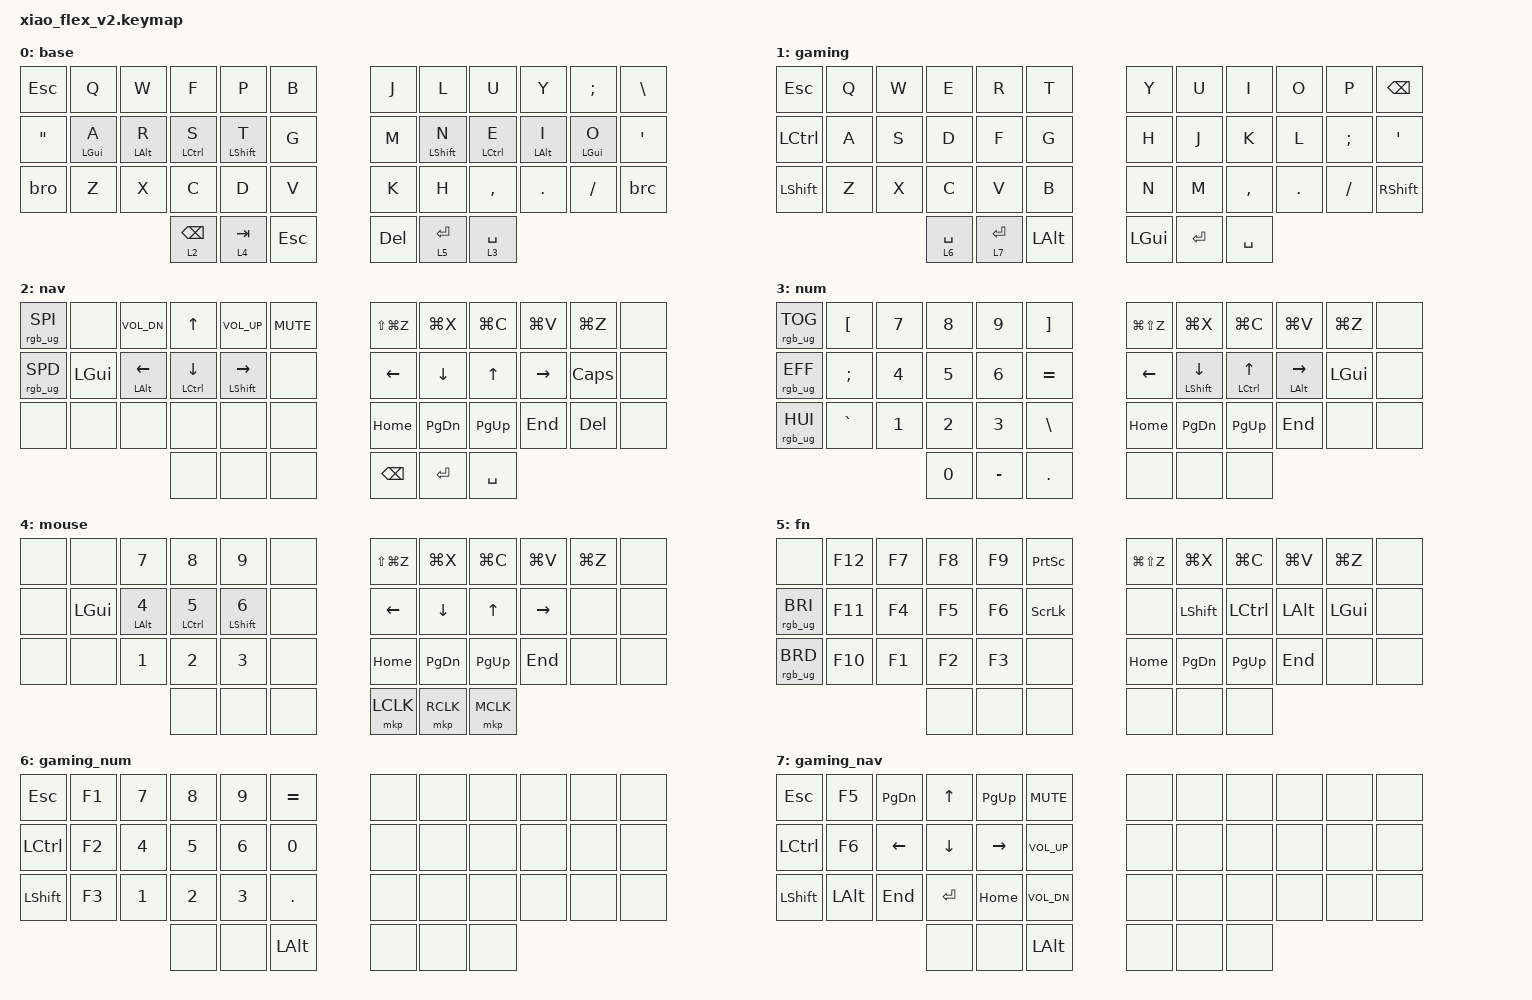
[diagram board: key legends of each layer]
/*
 * Copyright (c) 2020 The ZMK Contributors
 *
 * SPDX-License-Identifier: MIT
 */

#include <dt-bindings/led/led.h>
#include <behaviors/mouse_keys.dtsi>
#include <behaviors.dtsi>
#include <dt-bindings/zmk/keys.h>
#include <dt-bindings/zmk/mouse.h>
#include <dt-bindings/zmk/rgb.h>

&lt {
    quick-tap-ms = <225>;
    flavor = "balanced";
    tapping-term-ms = <280>;
    require-prior-idle-ms = <150>;
};

&mt {
    tapping-term-ms = <280>;
    quick-tap-ms = <225>;
    flavor = "balanced";
    require-prior-idle-ms = <150>;
};

/ {
    behaviors {
        bro: bro {
            compatible = "zmk,behavior-tap-dance";
            label = "BRO";
            #binding-cells = <0>;
            bindings =
                <&kp LEFT_PARENTHESIS>,
                <&kp LEFT_BRACE>,
                <&kp LEFT_BRACKET>;

            tapping-term-ms = <300>;
        };

        brc: brc {
            compatible = "zmk,behavior-tap-dance";
            label = "BRC";
            #binding-cells = <0>;
            bindings =
                <&kp RIGHT_PARENTHESIS>,
                <&kp RIGHT_BRACE>,
                <&kp RIGHT_BRACKET>;

            tapping-term-ms = <300>;
        };

        hml: hml {
            compatible = "zmk,behavior-hold-tap";
            label = "HML";
            bindings = <&kp>, <&kp>;

            #binding-cells = <2>;
            tapping-term-ms = <280>;
            quick-tap-ms = <225>;
            require-prior-idle-ms = <150>;
            flavor = "balanced";
            hold-trigger-key-positions = <6 18 19 20 21 22 23 30 31 32 33 34 35 7 8 9 10 11 39 40 41 36 37 38 36 37 38 39 40 41 42 43 44 45>;
            hold-trigger-on-release;
        };

        hmr: hmr {
            compatible = "zmk,behavior-hold-tap";
            label = "HMR";
            bindings = <&kp>, <&kp>;

            #binding-cells = <2>;
            tapping-term-ms = <280>;
            quick-tap-ms = <225>;
            require-prior-idle-ms = <150>;
            flavor = "balanced";
            hold-trigger-key-positions = <0 1 2 3 4 5 12 13 14 15 16 17 24 25 26 27 28 29 36 37 38 42 43 39 40 41 44 45>;
            hold-trigger-on-release;
        };

        hmls: hmls {
            compatible = "zmk,behavior-hold-tap";
            label = "HMLS";
            bindings = <&kp>, <&kp>;

            #binding-cells = <2>;
            tapping-term-ms = <280>;
            quick-tap-ms = <225>;
            require-prior-idle-ms = <150>;
            flavor = "balanced";
            hold-trigger-key-positions = <6 18 19 20 21 22 23 30 31 32 33 34 35 7 8 9 10 11 39 40 41 36 37 38 36 37 38 39 40 41 42 43 44 45>;
            hold-trigger-on-release;
        };

        hmrs: hmrs {
            compatible = "zmk,behavior-hold-tap";
            label = "HMRS";
            bindings = <&kp>, <&kp>;

            #binding-cells = <2>;
            tapping-term-ms = <280>;
            quick-tap-ms = <225>;
            require-prior-idle-ms = <150>;
            flavor = "balanced";
            hold-trigger-key-positions = <0 1 2 3 4 5 12 13 14 15 16 17 24 25 26 27 28 29 36 37 38 42 43 39 40 41 44 45>;
            hold-trigger-on-release;
        };
    };

    combos {
        compatible = "zmk,combos";

        paro {
            bindings = <&kp LEFT_PARENTHESIS>;
            key-positions = <3 4>;
        };

        veco {
            bindings = <&kp LEFT_BRACKET>;
            key-positions = <2 4>;
        };

        mapo {
            bindings = <&kp LEFT_BRACE>;
            key-positions = <1 4>;
        };

        underscore {
            bindings = <&kp UNDERSCORE>;
            key-positions = <4 7>;
        };

        parc {
            bindings = <&kp RIGHT_PARENTHESIS>;
            key-positions = <7 8>;
        };

        vecc {
            bindings = <&kp RIGHT_BRACKET>;
            key-positions = <7 9>;
        };

        mapc {
            bindings = <&kp RIGHT_BRACE>;
            key-positions = <7 10>;
        };

        minus {
            bindings = <&kp MINUS>;
            key-positions = <16 19>;
        };

        esc {
            bindings = <&kp ESC>;
            key-positions = <36 41>;
        };

        capsword {
            bindings = <&caps_word>;
            key-positions = <37 40>;
        };

        toggle_gaming {
            bindings = <&tog 1>;
            key-positions = <38 39>;
        };
    };

    keymap {
        compatible = "zmk,keymap";

        base {
            bindings = <
&kp ESC  &kp Q        &kp W        &kp F         &kp P           &kp B      &kp J    &kp L           &kp U         &kp Y        &kp SEMI     &kp BSLH
&kp DQT  &hml LGUI A  &hml LALT R  &hml LCTRL S  &hmls LSHIFT T  &kp G      &kp M    &hmrs LSHIFT N  &hmr LCTRL E  &hmr LALT I  &hmr LGUI O  &kp SQT
&bro     &kp Z        &kp X        &kp C         &kp D           &kp V      &kp K    &kp H           &kp COMMA     &kp DOT      &kp FSLH     &brc
                                   &lt 2 BSPC    &lt 4 TAB       &kp ESC    &kp DEL  &lt 5 RET       &lt 3 SPACE
            >;
        };

        gaming {
            bindings = <
&kp ESC    &kp Q  &kp W  &kp E        &kp R      &kp T           &kp Y     &kp U      &kp I      &kp O    &kp P     &kp BSPC
&kp LCTRL  &kp A  &kp S  &kp D        &kp F      &kp G           &kp H     &kp J      &kp K      &kp L    &kp SEMI  &kp SQT
&kp LSHFT  &kp Z  &kp X  &kp C        &kp V      &kp B           &kp N     &kp M      &kp COMMA  &kp DOT  &kp FSLH  &kp RSHIFT
                         &lt 6 SPACE  &lt 7 RET  &kp LEFT_ALT    &kp LGUI  &kp ENTER  &kp SPACE
            >;
        };

        nav {
            bindings = <
&rgb_ug RGB_SPI  &none     &kp C_VOL_DN   &kp UP          &kp C_VOL_UP     &kp C_MUTE    &kp LS(LG(Z))  &kp LG(X)  &kp LG(C)  &kp LG(V)  &kp LG(Z)  &none
&rgb_ug RGB_SPD  &kp LGUI  &mt LALT LEFT  &mt LCTRL DOWN  &mt LSHFT RIGHT  &none         &kp LEFT       &kp DOWN   &kp UP     &kp RIGHT  &kp CAPS   &none
&none            &none     &none          &none           &none            &none         &kp HOME       &kp PG_DN  &kp PG_UP  &kp END    &kp DEL    &none
                                          &none           &none            &none         &kp BSPC       &kp RET    &kp SPACE
            >;
        };

        num {
            bindings = <
&rgb_ug RGB_TOG  &kp LBKT       &kp N7  &kp N8  &kp N9     &kp RBKT      &kp LG(LS(Z))  &kp LG(X)       &kp LG(C)     &kp LG(V)       &kp LG(Z)  &none
&rgb_ug RGB_EFF  &kp SEMICOLON  &kp N4  &kp N5  &kp N6     &kp EQUAL     &kp LEFT       &mt LSHFT DOWN  &mt LCTRL UP  &mt LALT RIGHT  &kp LGUI   &none
&rgb_ug RGB_HUI  &kp GRAVE      &kp N1  &kp N2  &kp N3     &kp BSLH      &kp HOME       &kp PG_DN       &kp PG_UP     &kp END         &none      &none
                                        &kp N0  &kp MINUS  &kp PERIOD    &none          &none           &none
            >;
        };

        mouse {
            bindings = <
&none  &none     &kp N7       &kp N8        &kp N9        &none    &kp LS(LG(Z))  &kp LG(X)  &kp LG(C)  &kp LG(V)  &kp LG(Z)  &none
&none  &kp LGUI  &mt LALT N4  &mt LCTRL N5  &mt LSHFT N6  &none    &kp LEFT       &kp DOWN   &kp UP     &kp RIGHT  &none      &none
&none  &none     &kp N1       &kp N2        &kp N3        &none    &kp HOME       &kp PG_DN  &kp PG_UP  &kp END    &none      &none
                              &none         &none         &none    &mkp LCLK      &mkp RCLK  &mkp MCLK
            >;
        };

        fn {
            bindings = <
&none            &kp F12  &kp F7  &kp F8  &kp F9  &kp PSCRN    &kp LG(LS(Z))  &kp LG(X)  &kp LG(C)  &kp LG(V)  &kp LG(Z)  &none
&rgb_ug RGB_BRI  &kp F11  &kp F4  &kp F5  &kp F6  &kp SLCK     &none          &kp LSHFT  &kp LCTRL  &kp LALT   &kp LGUI   &none
&rgb_ug RGB_BRD  &kp F10  &kp F1  &kp F2  &kp F3  &none        &kp HOME       &kp PG_DN  &kp PG_UP  &kp END    &none      &none
                                  &none   &none   &none        &none          &none      &none
            >;
        };

        gaming_num {
            bindings = <
&kp ESCAPE  &kp F1  &kp N7        &kp N8        &kp N9        &kp EQUAL       &none  &none  &none  &none  &none  &none
&kp LCTRL   &kp F2  &kp NUMBER_4  &kp N5        &kp NUMBER_6  &kp NUMBER_0    &none  &none  &none  &none  &none  &none
&kp LSHFT   &kp F3  &kp NUMBER_1  &kp NUMBER_2  &kp NUMBER_3  &kp PERIOD      &none  &none  &none  &none  &none  &none
                                  &none         &none         &kp LALT        &none  &none  &none
            >;
        };

        gaming_nav {
            bindings = <
&kp ESC    &kp F5    &kp PG_DN  &kp UP    &kp PG_UP  &kp C_MUTE      &none  &none  &none  &none  &none  &none
&kp LCTRL  &kp F6    &kp LEFT   &kp DOWN  &kp RIGHT  &kp C_VOL_UP    &none  &none  &none  &none  &none  &none
&kp LSHFT  &kp LALT  &kp END    &kp RET   &kp HOME   &kp C_VOL_DN    &none  &none  &none  &none  &none  &none
                                &none     &none      &kp LALT        &none  &none  &none
            >;
        };
    };
};
